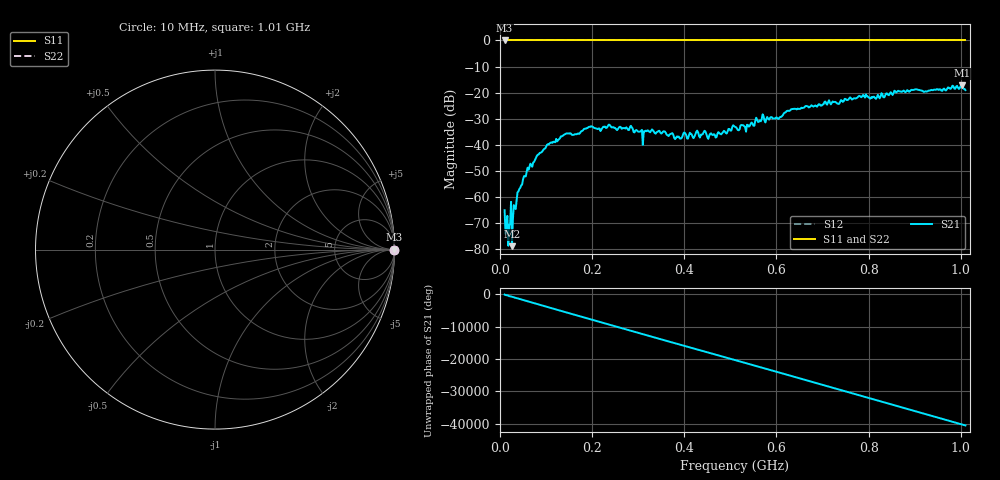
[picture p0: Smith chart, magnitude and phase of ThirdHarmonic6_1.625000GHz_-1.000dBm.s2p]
! 8/16/2025 7:25:03 PM
! C:\ANRITSUVNA\TEMP\TEMP.S2P
! CHANNEL.1
! TR.MEASUREMENT
! RAW.DATA
! RF.CORRECTION.OFF
! AVERAGING.OFF
! IF.BANDWIDTH: 5KHZ
! SWEEPTYPE:  FREQ.SWEEP(Linear)
! Reference Plane Port Info
! PORT:  PORT1  PORT2
! DISTANCE:  0  m  0  m
! TIME:  0  s  0  s
! PHASE.OFFSET:  0  deg.  0  deg.
! LOSS:  0  dB  0  dB
! REF.LOSS:  0  dB  0  dB
! REF.FREQ:  0  Hz  0  Hz
! Power Info
! POWER:  -20  dBm  -20  dBm
! EFF.POWER:  -20  dBm  -20  dBm
! SOURCE.ATTEN:  0  dB  0  dB
! TEST.ATTEN:  0  dB  0  dB
# GHZ S RI R 50.0
! FREQ.GHZ  S11RE  S11IM  S21RE  S21IM  S12RE  S12IM  S22RE  S22IM
!; PortSelection: Port_12
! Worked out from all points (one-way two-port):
!   501 points, 10 MHz to 1.01 GHz, reference 50 ohm
!   highest |S21| = -17.19 dB at 1.002 GHz (marker M1); lowest = -78.9 dB at 26 MHz (marker M2)
!   lowest |S11| = 0.0 dB at 10 MHz (marker M3)
!   |S11| at or under -10 dB: nowhere
!   |S22| runs from 0.0 to 0.0 dB; largest |S21 - S12| = 1.1
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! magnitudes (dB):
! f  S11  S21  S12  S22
! 10 MHz  0.0  -65.2  0.0  0.0
! 16 MHz  0.0  -67.3  0.0  0.0
! 20 MHz  0.0  -70.9  0.0  0.0
! 22 MHz  0.0  -70.5  0.0  0.0
! 26 MHz  0.0  -78.9  0.0  0.0
! 30 MHz  0.0  -63.2  0.0  0.0
! 34 MHz  0.0  -64.7  0.0  0.0
! 42 MHz  0.0  -57.0  0.0  0.0
! 62 MHz  0.0  -49.6  0.0  0.0
! 82 MHz  0.0  -43.8  0.0  0.0
! 140 MHz  0.0  -36.1  0.0  0.0
! 178 MHz  0.0  -34.7  0.0  0.0
! 238 MHz  0.0  -32.4  0.0  0.0
! 306 MHz  0.0  -34.7  0.0  0.0
! 344 MHz  0.0  -34.7  0.0  0.0
! 382 MHz  0.0  -37.4  0.0  0.0
! 466 MHz  0.0  -36.1  0.0  0.0
! 510 MHz  0.0  -33.2  0.0  0.0
! 678 MHz  0.0  -25.1  0.0  0.0
! 844 MHz  0.0  -21.0  0.0  0.0
! 1.002 GHz  0.0  -17.2  0.0  0.0
! 1.01 GHz  0.0  -19.0  0.0  0.0
